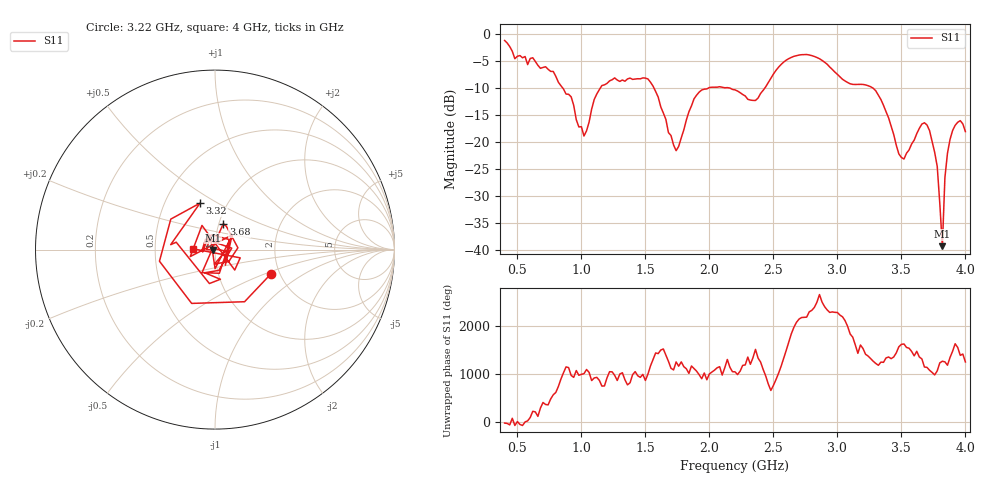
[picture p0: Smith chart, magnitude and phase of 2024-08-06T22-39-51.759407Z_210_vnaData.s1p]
!Created with skrf (http://scikit-rf.org).
# Hz S RI R 50.0
!freq ReS11 ImS11
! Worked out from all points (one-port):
!   181 points, 400 MHz to 4 GHz, reference 50 ohm
!   lowest |S11| = -39.3 dB at 3.82 GHz (marker M1), VSWR 1.02, Z = 48.9 - j0.221 ohm
!   |S11| at or under -10 dB: 855.5 MHz to 1.147 GHz (291.3 MHz wide, 29.1 % of centre); 1.568 GHz to 1.989 GHz (421.6 MHz wide, 23.7 % of centre); 3.28 GHz to end of sweep (the widest 3 of 4)
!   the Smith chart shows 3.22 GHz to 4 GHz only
!   S11 on the Smith chart (normalised r, x): 3.22 GHz: 1.80, -0.55; 3.32 GHz: 0.75, +0.42; 3.68 GHz: 1.05, +0.31; 4 GHz: 0.78, +0.01
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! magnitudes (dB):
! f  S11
! 400 MHz  -1.1
! 480 MHz  -4.5
! 620 MHz  -4.3
! 860 MHz  -10.1
! 920 MHz  -11.6
! 1.02 GHz  -18.9
! 1.16 GHz  -9.5
! 1.3 GHz  -8.7
! 1.52 GHz  -8.3
! 1.74 GHz  -21.6
! 1.76 GHz  -20.8
! 1.92 GHz  -10.7
! 2.2 GHz  -10.3
! 2.36 GHz  -12.3
! 2.66 GHz  -4.1
! 2.86 GHz  -4.5
! 3.1 GHz  -9.2
! 3.22 GHz  -9.4
! 3.32 GHz  -11.3
! 3.48 GHz  -22.2
! 3.56 GHz  -21.4
! 3.68 GHz  -16.4
! 3.78 GHz  -24.5
! 3.82 GHz  -39.3
! 3.84 GHz  -26.6
! 3.88 GHz  -19.5
! 3.96 GHz  -16.0
! 4 GHz  -18.0
